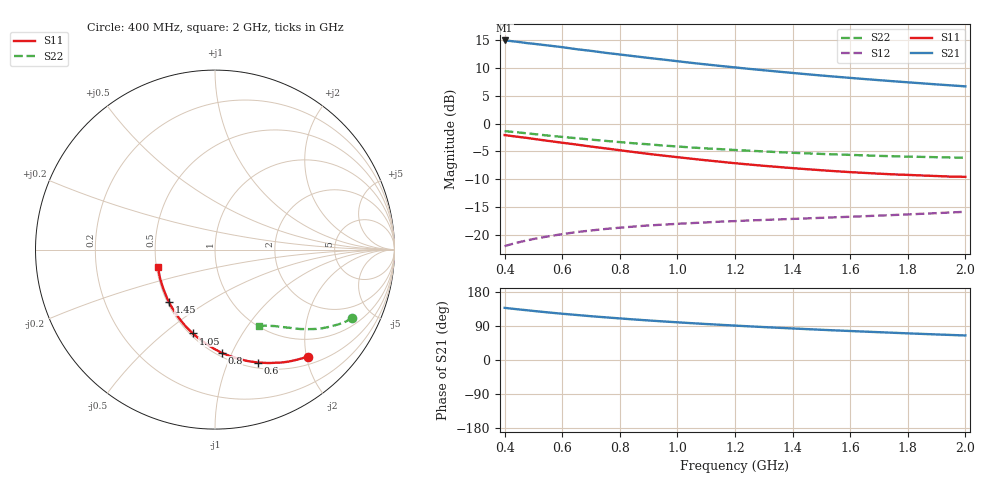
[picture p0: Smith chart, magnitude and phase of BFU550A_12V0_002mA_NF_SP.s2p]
! Filename:  P:\Prog\Test\Noise\ATS_data\Testdata_Net\06 Compressed Noise after Statistics\BFU550A_APG2013_35_C05_12p0V_002mA_NF_CM01_D.sf
! Date/Time: Tue 16/Apr/2013 15:11:29
! BFU550A_APG2013_35_C05_12p0V_1to35mA_NF_CM01_Bias2_R.sf
! Noise Parameter Data File
! BFU550A_APG2013_35_C05_12p0V_1to35mA_NF_CM01
! Date/time: Mon Apr 15 18:57:59 2013
! VAR V_out= 12.001000
! VAR I_out= 2.005000
! VAR V_in= 0.791600
! VAR I_in= 0.015900
! Device data file deembeded for feedlines and parallel
! Original file: \06 Compressed Noise after Statistics\BFU550A_APG2013_35_C05_12p0V_002mA_NF_CM01_R.sf
! Feed-files: PR017V01_150413_Feed1.s2p, PR017V01_150413_Feed2.s2p
! Parallel-file: PR017V01_150413_Par.s2p
# MHz S MA R 50
!  Freq-MHz  S11-mag  S11-arg  S21-mag  S21-arg  S12-mag  S12-arg  S22-mag  S22-arg
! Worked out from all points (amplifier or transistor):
!   37 points, 400 MHz to 2 GHz, reference 50 ohm
!   highest |S21| = 14.9 dB at 400 MHz (marker M1)
!   |S21| within 3 dB of that: start of sweep to 877.9 MHz
!   unconditionally stable (mu >= 1): nowhere
!   at 500 MHz: K = 0.33, MSG = 17.5 dB, |S12| = -20.7 dB
!   at 1.1 GHz: K = 0.67, MSG = 14.2 dB, |S12| = -17.7 dB
!   at 2 GHz: K = 0.99, MSG = 11.3 dB, |S12| = -15.8 dB
!   lowest NFmin = 0.52 dB at 433 MHz
!   S11 on the Smith chart (normalised r, x): 400 MHz: 0.64, -2.02; 600 MHz: 0.56, -1.29; 800 MHz: 0.53, -0.92; 1.05 GHz: 0.52, -0.63; 1.45 GHz: 0.51, -0.35; 2 GHz: 0.51, -0.11
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400  0.7881 -49.1  5.566 137.7  0.0794 62.2  0.8548 -26.5
420  0.7759 -51.4  5.504 135.9  0.08224 61.2  0.8453 -27.5
440  0.764 -53.5  5.428 134.2  0.08487 60.2  0.8356 -28.4
500  0.7294 -59.6  5.2 129.5  0.09204 57.6  0.8059 -31.0
550  0.6996 -64.6  5.023 125.6  0.0971 55.7  0.7805 -33.0
600  0.673 -69.2  4.845 122.1  0.1018 54.1  0.7586 -34.8
650  0.6477 -73.6  4.645 118.8  0.1062 52.6  0.7386 -36.4
700  0.6217 -78.0  4.49 115.5  0.1098 51.2  0.7177 -38.0
750  0.5989 -82.1  4.312 112.6  0.1133 50.1  0.6993 -39.3
800  0.5764 -86.2  4.167 109.7  0.1163 49.2  0.6816 -40.6
850  0.5546 -90.2  4.019 106.9  0.1191 48.3  0.6647 -41.8
950  0.5161 -97.7  3.752 101.8  0.1238 47.0  0.6351 -44.0
1050  0.4833 -104.8  3.502 97.2  0.1279 46.2  0.6096 -45.8
1100  0.4681 -108.3  3.392 95.0  0.1298 45.9  0.5983 -46.7
1200  0.4406 -115.1  3.189 90.8  0.1333 45.5  0.5788 -48.3
1300  0.4177 -121.5  3.008 86.9  0.1365 45.5  0.5623 -49.9
1450  0.3894 -131.0  2.77 81.5  0.141 45.9  0.5402 -52.1
1500  0.3812 -134.2  2.698 79.7  0.1426 46.1  0.534 -52.9
1600  0.3666 -140.1  2.569 76.5  0.1458 46.8  0.5233 -54.3
1750  0.3499 -148.9  2.396 71.8  0.1511 48.1  0.5091 -56.4
1850  0.342 -154.5  2.295 68.9  0.1551 48.9  0.5023 -57.8
2000  0.3326 -162.8  2.156 64.7  0.1615 50.4  0.4931 -60.1
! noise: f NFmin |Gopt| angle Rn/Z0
400  0.6363  0.4057  19.51  0.2121
460  0.6243  0.4083  31.09  0.1957
600  0.6995  0.4053  26.3  0.2083
800  0.6698  0.407  49.68  0.1692
1000  0.7004  0.4357  62.37  0.1525
1200  0.7628  0.3697  73.87  0.1534
1400  0.7209  0.4469  86.96  0.1288
1600  0.7553  0.3898  98.97  0.1256
1800  0.74  0.3867  128  0.0763
2000  0.7617  0.4765  130.2  0.0648
